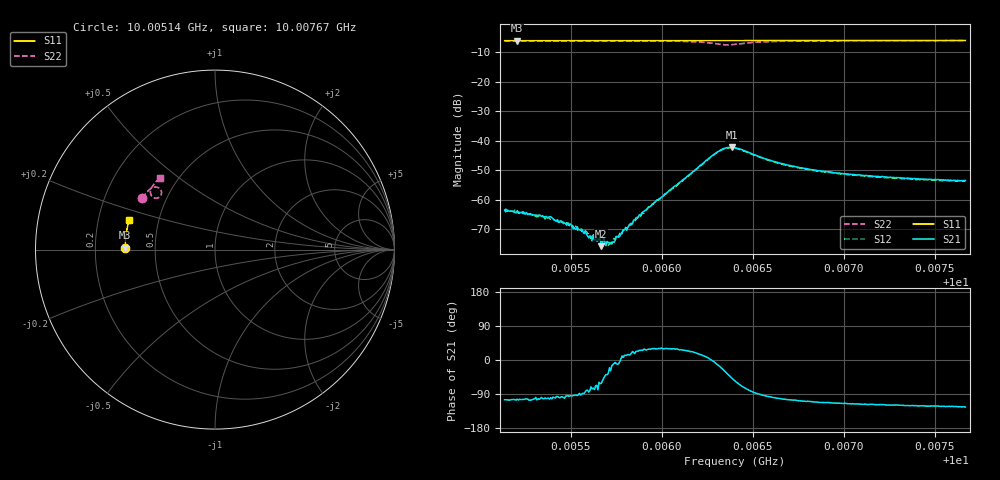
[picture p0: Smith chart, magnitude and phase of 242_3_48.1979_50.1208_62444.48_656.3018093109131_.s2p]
#  HZ  S  RI  R  50.00
! Rohde & Schwarz Vector Network Analyzer
! Rohde-Schwarz,ZNB20-2Port,1311601062101988,3.16
! Created: UTC 3/20/2024, 11:46:54 AM
! freq[Hz]  re:S11  im:S11  re:S21  im:S21  re:S12  im:S12  re:S22  im:S22
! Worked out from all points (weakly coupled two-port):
!   401 points, 10.00514 GHz to 10.00767 GHz, reference 50 ohm
!   highest |S21| = -42.20 dB at 10.00638 GHz (marker M1); lowest = -75.7 dB at 10.00567 GHz (marker M2)
!   lowest |S11| = -6.0 dB at 10.00521 GHz (marker M3), VSWR 3.00, Z = 16.7 + j0.49 ohm
!   |S11| at or under -10 dB: nowhere
!   |S22| runs from -7.4 to -6.0 dB; largest |S21 - S12| = 0.00046
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1.0005138e10  -0.5 0.00666  -0.00017 -0.000639  -0.000152 -0.000677  -0.4042 0.2861
1.0005208e10  -0.4999 0.011  -0.000149 -0.000633  -8.04e-05 -0.000613  -0.4016 0.2903
1.0005391e10  -0.4999 0.0231  -8.67e-05 -0.000509  -6.75e-05 -0.000462  -0.3939 0.3012
1.0005492e10  -0.4998 0.0296  -4.01e-05 -0.000377  -1.47e-05 -0.000366  -0.3896 0.3072
1.0005518e10  -0.4997 0.0313  -1.81e-05 -0.00034  -9.65e-06 -0.000323  -0.3884 0.3088
1.0005562e10  -0.4996 0.0341  7.7e-07 -0.000318  3.97e-05 -0.000287  -0.3864 0.3112
1.0005587e10  -0.4996 0.0357  4.57e-05 -0.000256  2.77e-05 -0.00029  -0.3852 0.3129
1.0005606e10  -0.4996 0.0369  3.87e-05 -0.000241  6.83e-05 -0.000218  -0.3842 0.3141
1.0005669e10  -0.4993 0.0411  7.79e-05 -0.000143  0.000127 -0.00015  -0.3809 0.3181
1.0005682e10  -0.4993 0.042  0.000152 -0.000169  0.00015 -0.000123  -0.3803 0.3188
1.0005701e10  -0.4992 0.0431  0.000155 -0.000124  0.00015 -0.000114  -0.3792 0.32
1.0005733e10  -0.499 0.0453  0.000189 -3.99e-05  0.000198 -5.99e-05  -0.3775 0.3221
1.0005859e10  -0.4985 0.0535  0.000453 0.000187  0.000426 0.000191  -0.3696 0.3303
1.0005986e10  -0.4978 0.0616  0.000882 0.000528  0.000854 0.000543  -0.3594 0.3388
1.0006296e10  -0.495 0.0816  0.00609 -0.000844  0.00601 -0.000518  -0.3004 0.3292
1.000634e10  -0.4944 0.0841  0.00662 -0.00324  0.00658 -0.00289  -0.2992 0.3071
1.0006384e10  -0.4941 0.0867  0.00526 -0.0057  0.00543 -0.00528  -0.3153 0.2892
1.0006403e10  -0.494 0.0878  0.0043 -0.00629  0.00455 -0.00594  -0.3248 0.2867
1.0006618e10  -0.4925 0.1016  -0.000723 -0.00442  -0.000523 -0.00434  -0.3594 0.326
1.0006827e10  -0.4901 0.115  -0.00112 -0.00304  -0.000954 -0.00302  -0.3507 0.3494
1.0007251e10  -0.484 0.1416  -0.00115 -0.00211  -0.001 -0.00213  -0.3291 0.3768
1.0007668e10  -0.4765 0.1675  -0.00119 -0.00176  -0.00103 -0.00174  -0.3079 0.3976
